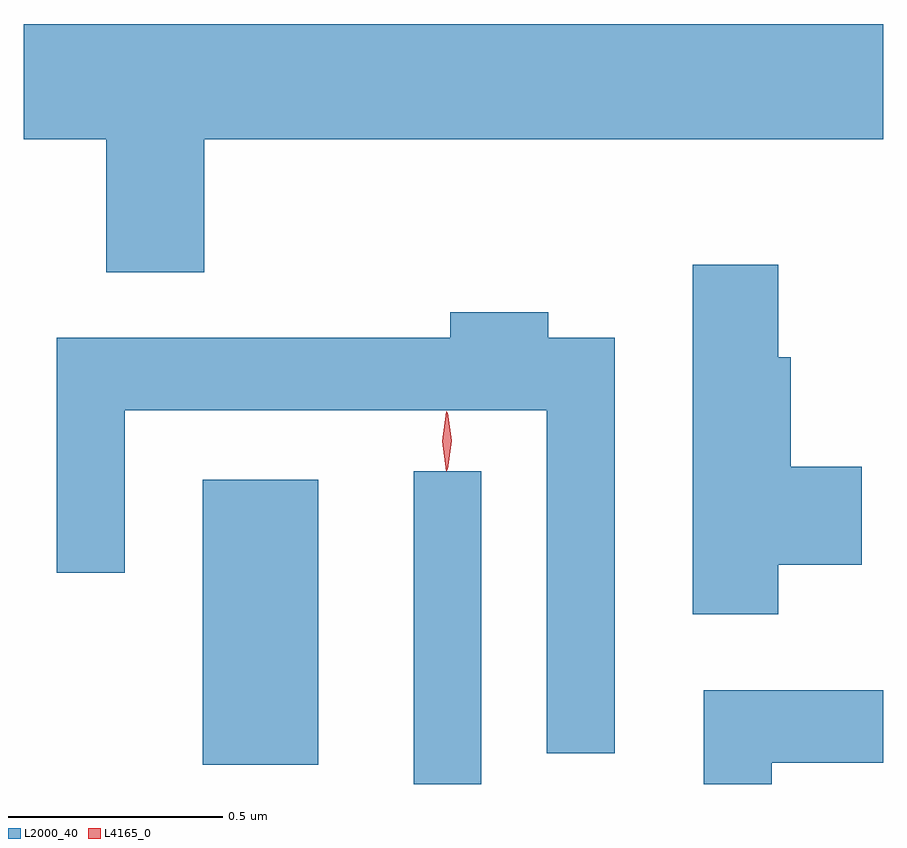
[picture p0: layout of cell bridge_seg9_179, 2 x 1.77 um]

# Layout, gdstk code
import gdstk
lib = gdstk.Library(unit=1e-6, precision=1e-09)
def R(c, l, rs):  # rectangles x0, y0, x1, y1
    for r in rs: c.add(gdstk.rectangle(r[:2], r[2:], *l))
def P(c, l, *ps):  # polygons
    for p in ps: c.add(gdstk.Polygon(p, *l))
L2000_40 = (2000, 40)
L4165_0 = (4165, 0)

bridge_seg9_179 = lib.new_cell('bridge_seg9_179')
R(bridge_seg9_179, L2000_40, [(1439.346,2065.796,1439.504,2066.523), (1438.856,2065.841,1439.124,2066.504)])
P(bridge_seg9_179, L2000_40, [(1438.859,2067.296),(1440.439,2067.296),(1440.439,2067.564),(1438.439,2067.564),(1438.439,2067.296),(1438.631,2067.296),(1438.631,2066.986),(1438.859,2066.986)],
  [(1440.194,2066.306),(1440.389,2066.306),(1440.389,2066.534),(1440.224,2066.534),(1440.224,2066.789),(1440.194,2066.789),(1440.194,2067.004),(1439.996,2067.004),(1439.996,2066.191),(1440.194,2066.191)],
  [(1439.814,2066.834),(1439.659,2066.834),(1439.659,2066.894),(1439.431,2066.894),(1439.431,2066.834),(1438.516,2066.834),(1438.516,2066.288),(1438.674,2066.288),(1438.674,2066.666),(1439.656,2066.666),(1439.656,2065.867),(1439.814,2065.867)],
  [(1440.179,2065.846),(1440.439,2065.846),(1440.439,2066.014),(1440.021,2066.014),(1440.021,2065.796),(1440.179,2065.796)])
P(bridge_seg9_179, L4165_0, [(1439.422,2066.524),(1439.413,2066.593),(1439.422,2066.662),(1439.423,2066.663),(1439.423,2066.662),(1439.433,2066.593),(1439.423,2066.524),(1439.423,2066.524)],
  [(1439.425,2066.527),(1439.425,2066.528),(1439.416,2066.594),(1439.425,2066.66),(1439.426,2066.66),(1439.426,2066.66),(1439.435,2066.594),(1439.426,2066.528)])

lib.write_gds('bridge_seg9_179.gds')
